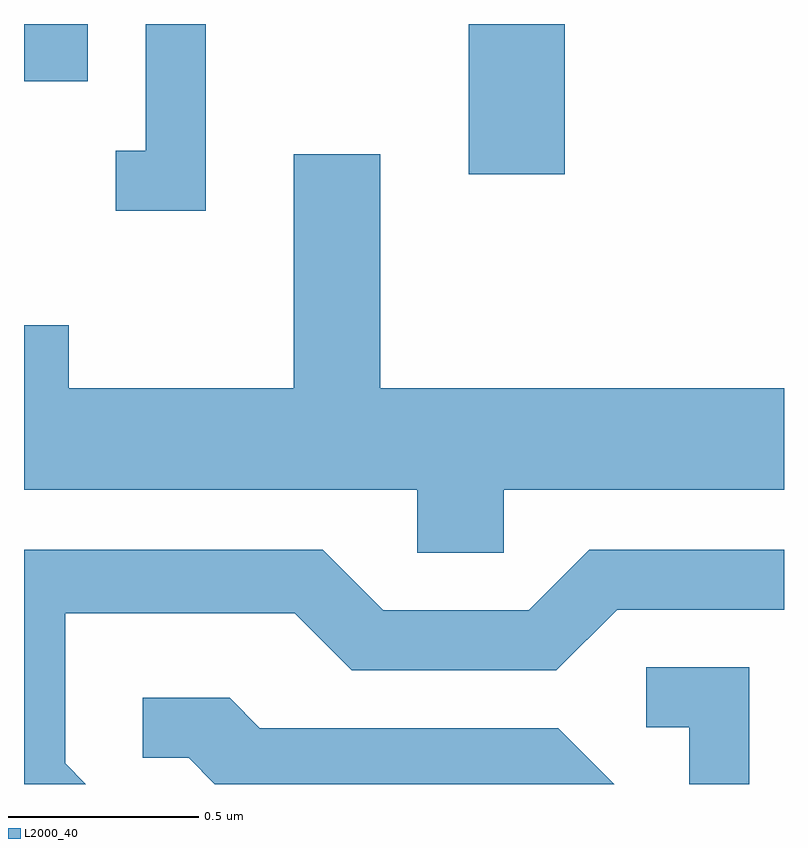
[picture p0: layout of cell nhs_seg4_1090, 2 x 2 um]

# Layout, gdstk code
import gdstk
lib = gdstk.Library(unit=1e-6, precision=1e-09)
def R(c, l, rs):  # rectangles x0, y0, x1, y1
    for r in rs: c.add(gdstk.rectangle(r[:2], r[2:], *l))
def P(c, l, *ps):  # polygons
    for p in ps: c.add(gdstk.Polygon(p, *l))
L2000_40 = (2000, 40)

nhs_seg4_1090 = lib.new_cell('nhs_seg4_1090')
R(nhs_seg4_1090, L2000_40, [(193.781,1386.586,194.034,1386.982), (192.611,1386.831,192.779,1386.982)])
P(nhs_seg4_1090, L2000_40, [(193.089,1386.982),(192.931,1386.982),(192.931,1386.649),(192.853,1386.649),(192.853,1386.491),(193.089,1386.491)],
  [(193.874,1385.756),(194.611,1385.756),(194.611,1386.024),(193.549,1386.024),(193.549,1386.639),(193.321,1386.639),(193.321,1386.024),(192.729,1386.024),(192.729,1386.189),(192.611,1386.189),(192.611,1385.756),(193.646,1385.756),(193.646,1385.591),(193.874,1385.591)],
  [(192.719,1385.037),(192.719,1385.431),(193.324,1385.431),(193.474,1385.281),(194.012,1385.281),(194.172,1385.441),(194.611,1385.441),(194.611,1385.599),(194.099,1385.599),(193.939,1385.439),(193.557,1385.439),(193.397,1385.599),(192.611,1385.599),(192.611,1384.982),(192.774,1384.982)],
  [(194.519,1385.289),(194.248,1385.289),(194.248,1385.131),(194.361,1385.131),(194.361,1384.982),(194.519,1384.982)],
  [(194.017,1385.129),(193.232,1385.129),(193.152,1385.209),(192.923,1385.209),(192.923,1385.051),(193.044,1385.051),(193.113,1384.982),(194.164,1384.982)])

lib.write_gds('nhs_seg4_1090.gds')
